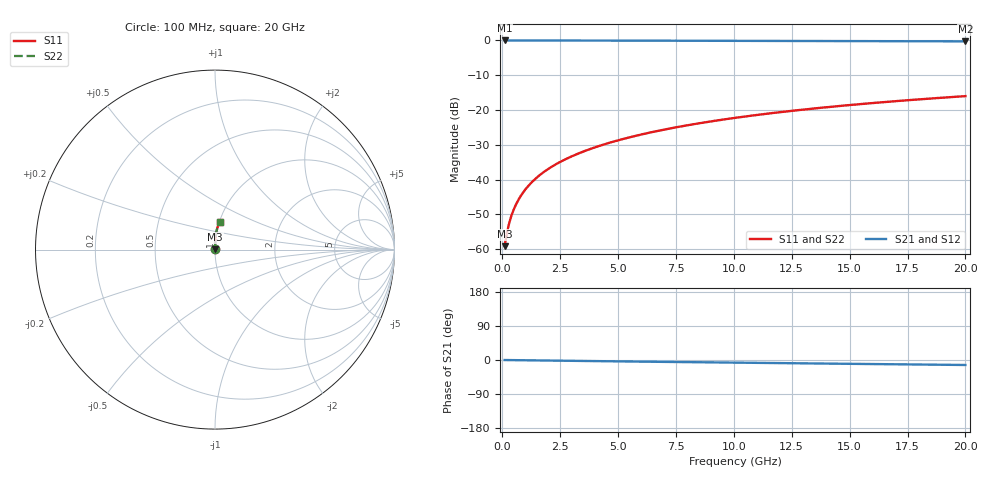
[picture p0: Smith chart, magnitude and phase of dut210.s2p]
! Touchstone file exported from HFSS 2024.1.0
!  File:  C:/UserFiles/LocalFiles/RDL_TSV_Batchsim/temp_RDL_top_210_1778687340.aedt
!  Generated:  11:51:25 PM May 13, 2026
!  Design:  RDL_top
!  Project:  temp_RDL_top_210_1778687340
!  Setup:  Setup1
!  Solution:  Sweep
! Variables:
!  dtsv = 10.80580581um
!  hbump = 3um
!  htsv = 64.42um
!  ldown = 100um
!  lrdl = 143.31um
!  p = 40
!  p1 = 53.54um
!  rhole = 1um
!  t = 450um
!  tdown = 3.915915916um
!  trdl = 3.96um
!  wdown = 15.38538539um
!  wrdl = 21.21um
# GHz S MA R 50.000000
! Terminal data exported
! Port[1] = Box2_T1
! Port[2] = Box2_T2
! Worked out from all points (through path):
!   200 points, 100 MHz to 20 GHz, reference 50 ohm
!   highest |S21| = -0.01 dB at 100 MHz (marker M1); lowest = -0.3 dB at 20 GHz (marker M2)
!   group delay of S21, straight-line fit = 1.81 ps
!   lowest |S11| = -59.2 dB at 100 MHz (marker M3), VSWR 1.00, Z = 50.1 + j0.0759 ohm
!   |S11| at or under -10 dB: start of sweep to end of sweep
!   |S22| runs from -59.2 to -16.0 dB; largest |S21 - S12| = 2.4e-15
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0.1  0.0011 43.6  0.9992 -0.1  0.9992 -0.1  0.0011 43.6
! Gamma 0 0 0 0
! Port Impedance 50 0 50 0
0.2  0.001712 61.2  0.9992 -0.2  0.9992 -0.2  0.001711 61.2
0.3  0.002381 69.0  0.9991 -0.2  0.9991 -0.2  0.002381 69.0
0.4  0.003062 73.3  0.9991 -0.3  0.9991 -0.3  0.003062 73.3
0.5  0.003746 76.2  0.999 -0.4  0.999 -0.4  0.003746 76.2
0.6  0.004433 78.2  0.999 -0.5  0.999 -0.5  0.004433 78.2
0.8  0.005817 81.0  0.9989 -0.6  0.9989 -0.6  0.005817 81.0
1.1  0.007912 83.4  0.9988 -0.8  0.9988 -0.8  0.007912 83.4
1.5  0.01073 85.3  0.9985 -1.1  0.9985 -1.1  0.01073 85.3
1.8  0.01287 86.2  0.9983 -1.3  0.9983 -1.3  0.01287 86.2
2.1  0.01502 86.9  0.9981 -1.6  0.9981 -1.6  0.01502 86.9
2.7  0.01936 87.8  0.9975 -2.0  0.9975 -2.0  0.01936 87.8
3.5  0.02525 88.5  0.9966 -2.6  0.9966 -2.6  0.02525 88.5
4.2  0.03049 88.9  0.9956 -3.1  0.9956 -3.1  0.03049 88.9
5  0.03659 89.1  0.9944 -3.6  0.9944 -3.6  0.03659 89.1
5.9  0.04357 89.0  0.993 -4.2  0.993 -4.2  0.04357 89.0
6.8  0.05068 88.9  0.9915 -4.9  0.9915 -4.9  0.05068 88.9
8.4  0.06353 88.3  0.9889 -5.9  0.9889 -5.9  0.06353 88.3
10.1  0.0774 87.4  0.9861 -7.0  0.9861 -7.0  0.0774 87.4
13.4  0.1045 85.2  0.9808 -9.1  0.9808 -9.1  0.1045 85.2
16.7  0.1315 82.9  0.9755 -11.1  0.9755 -11.1  0.1315 82.9
20  0.1581 80.5  0.97 -13.2  0.97 -13.2  0.1581 80.5
